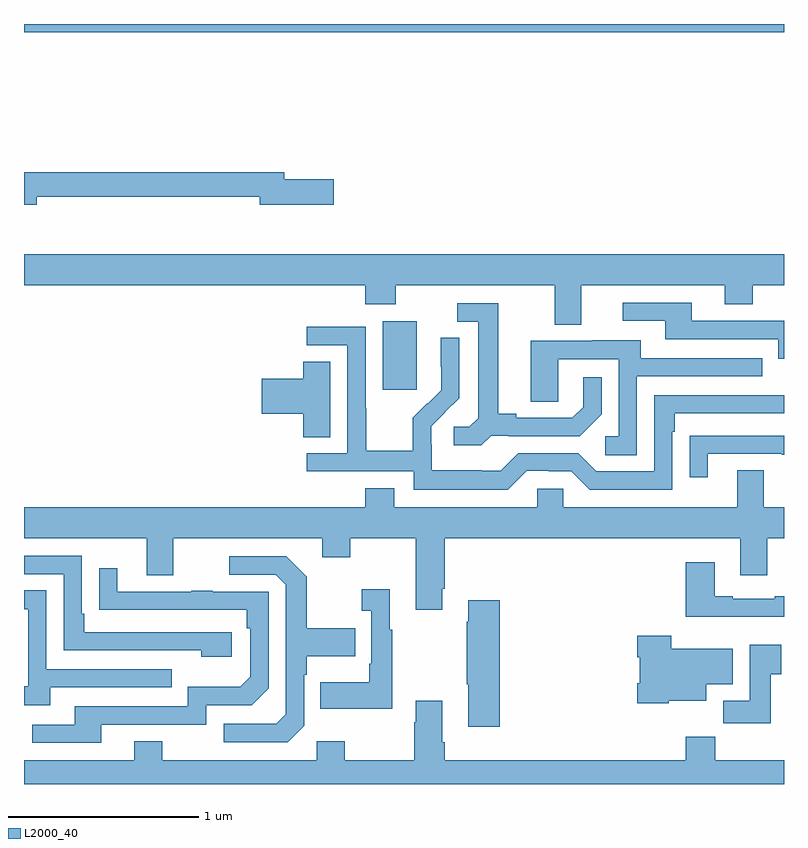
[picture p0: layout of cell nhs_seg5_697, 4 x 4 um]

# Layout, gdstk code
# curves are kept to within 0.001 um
import gdstk
lib = gdstk.Library(unit=1e-6, precision=1e-09)
def R(c, l, rs):  # rectangles x0, y0, x1, y1
    for r in rs: c.add(gdstk.rectangle(r[:2], r[2:], *l))
def P(c, l, *ps):  # polygons
    for p in ps: c.add(gdstk.Polygon(p, *l))
L2000_40 = (2000, 40)

nhs_seg5_697 = lib.new_cell('nhs_seg5_697')
R(nhs_seg5_697, L2000_40, [(156.887,858.873,157.066,859.234), (155,860.756,159,860.799)])
P(nhs_seg5_697, L2000_40, [(155.068,859.89),(156.242,859.89),(156.242,859.847),(156.631,859.847),(156.631,859.982),(156.37,859.982),(156.37,860.018),(155,860.018),(155,859.847),(155.068,859.847)],
  [(157.933,859.424),(158.687,859.424),(158.687,859.325),(158.835,859.325),(158.835,859.424),(159,859.424),(159,859.588),(155,859.588),(155,859.424),(156.797,859.424),(156.797,859.325),(156.957,859.325),(156.957,859.424),(157.793,859.424),(157.793,859.216),(157.933,859.216)],
  [(159,859.236),(158.515,859.236),(158.515,859.332),(158.151,859.332),(158.151,859.236),(158.375,859.236),(158.375,859.14),(158.97,859.14),(158.97,859.037),(159,859.037)],
  [(157.458,858.633),(157.552,858.633),(157.552,858.63),(157.924,858.63),(158.04,858.746),(158.04,858.94),(157.943,858.94),(157.943,858.783),(157.886,858.726),(157.591,858.726),(157.591,858.749),(157.495,858.749),(157.495,859.329),(157.281,859.329),(157.281,859.233),(157.391,859.233),(157.391,858.725),(157.344,858.678),(157.263,858.678),(157.263,858.581),(157.406,858.581)],
  [(157.647,858.447),(157.763,858.447),(157.763,858.444),(157.881,858.444),(157.977,858.348),(158.412,858.348),(158.412,858.653),(158.425,858.653),(158.425,858.75),(159,858.75),(159,858.846),(158.316,858.846),(158.316,858.444),(158.013,858.444),(157.917,858.54),(157.602,858.54),(157.509,858.447),(157.409,858.447),(157.409,858.451),(157.146,858.451),(157.146,858.585),(157.144,858.585),(157.144,858.682),(157.29,858.83),(157.29,859.148),(157.194,859.148),(157.194,858.994),(157.196,858.994),(157.196,858.872),(157.125,858.801),(157.122,858.804),(157.045,858.727),(157.045,858.553),(156.801,858.553),(156.801,858.776),(156.798,858.776),(156.798,859.206),(156.489,859.206),(156.489,859.107),(156.702,859.107),(156.702,858.54),(156.489,858.54),(156.489,858.444),(157.05,858.444),(157.05,858.347),(157.547,858.347)],
  [(158.226,858.945),(158.885,858.945),(158.885,859.041),(158.245,859.041),(158.245,859.135),(157.991,859.135),(157.991,859.131),(157.667,859.131),(157.667,858.811),(157.812,858.811),(157.812,859.035),(158.13,859.035),(158.13,858.63),(158.058,858.63),(158.058,858.529),(158.226,858.529)],
  [(156.613,859.022),(156.47,859.022),(156.47,858.932),(156.252,858.932),(156.252,858.749),(156.47,858.749),(156.47,858.625),(156.613,858.625)],
  [(158.599,858.537),(158.989,858.537),(158.989,858.532),(159,858.532),(159,858.633),(158.605,858.633),(158.605,858.632),(158.503,858.632),(158.503,858.414),(158.599,858.414)],
  [(156.797,858.355),(156.797,858.256),(155,858.256),(155,858.092),(155.645,858.092),(155.645,857.898),(155.785,857.898),(155.785,858.092),(156.569,858.092),(156.569,857.993),(156.717,857.993),(156.717,858.092),(157.061,858.092),(157.061,857.715),(157.201,857.715),(157.201,857.827),(157.214,857.827),(157.214,858.092),(158.771,858.092),(158.771,857.898),(158.911,857.898),(158.911,858.092),(159,858.092),(159,858.256),(158.893,858.256),(158.893,858.451),(158.753,858.451),(158.753,858.256),(157.839,858.256),(157.839,858.354),(157.701,858.354),(157.701,858.256),(156.949,858.256),(156.949,858.355)],
  [(156.094,857.598),(155.317,857.598),(155.317,857.695),(155.304,857.695),(155.304,858),(155,858),(155,857.904),(155.208,857.904),(155.208,857.502),(155.933,857.502),(155.933,857.468),(156.094,857.468)],
  [(156.474,857.106),(156.474,857.375),(156.487,857.375),(156.487,857.471),(156.743,857.471),(156.743,857.619),(156.487,857.619),(156.487,857.891),(156.381,857.997),(156.081,857.997),(156.081,857.901),(156.324,857.901),(156.378,857.847),(156.378,857.166),(156.327,857.115),(156.051,857.115),(156.051,857.019),(156.387,857.019)],
  [(159,857.788),(158.951,857.788),(158.951,857.775),(158.731,857.775),(158.731,857.788),(158.635,857.788),(158.635,857.965),(158.483,857.965),(158.483,857.678),(159,857.678)],
  [(155.407,857.112),(155.958,857.112),(155.958,857.214),(156.198,857.214),(156.288,857.304),(156.288,857.811),(155.993,857.811),(155.993,857.816),(155.881,857.816),(155.881,857.811),(155.491,857.811),(155.491,857.935),(155.395,857.935),(155.395,857.716),(156.172,857.715),(156.172,857.618),(156.192,857.618),(156.192,857.364),(156.139,857.311),(155.862,857.311),(155.862,857.208),(155.267,857.208),(155.267,857.112),(155.043,857.112),(155.043,857.016),(155.407,857.016)],
  [(156.937,857.611),(156.925,857.611),(156.925,857.824),(156.777,857.824),(156.777,857.711),(156.828,857.711),(156.828,857.431),(156.816,857.431),(156.816,857.335),(156.559,857.335),(156.559,857.195),(156.937,857.195)],
  [(155.137,857.307),(155.777,857.307),(155.777,857.403),(155.118,857.403),(155.118,857.819),(155,857.819),(155,857.718),(155.022,857.718),(155.022,857.313),(155,857.313),(155,857.213),(155.137,857.213)],
  [(157.505,857.767),(157.337,857.767),(157.337,857.654),(157.33,857.654),(157.33,857.323),(157.337,857.323),(157.337,857.1),(157.505,857.1)],
  [(158.394,857.237),(158.59,857.237),(158.59,857.324),(158.731,857.324),(158.731,857.512),(158.406,857.512),(158.406,857.578),(158.228,857.578),(158.228,857.465),(158.24,857.465),(158.24,857.329),(158.228,857.329),(158.228,857.225),(158.394,857.225)],
  [(158.929,857.377),(158.986,857.377),(158.986,857.533),(158.819,857.533),(158.819,857.236),(158.68,857.236),(158.68,857.118),(158.929,857.118)],
  [(159,856.924),(158.639,856.924),(158.639,857.048),(158.483,857.048),(158.483,856.924),(157.214,856.924),(157.214,857.02),(157.201,857.02),(157.201,857.236),(157.061,857.236),(157.061,857.123),(157.054,857.123),(157.054,856.924),(156.687,856.924),(156.687,857.023),(156.54,857.023),(156.54,856.924),(155.727,856.924),(155.727,857.023),(155.579,857.023),(155.579,856.924),(155,856.924),(155,856.799),(159,856.799)])

lib.write_gds('nhs_seg5_697.gds')
